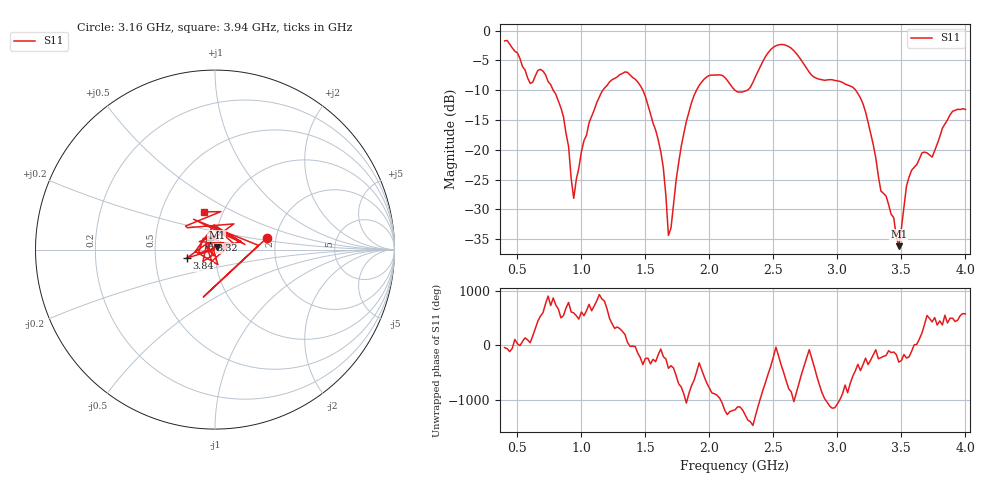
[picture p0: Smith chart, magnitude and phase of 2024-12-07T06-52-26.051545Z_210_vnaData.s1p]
!Created with skrf (http://scikit-rf.org).
# Hz S RI R 50.0
!freq ReS11 ImS11
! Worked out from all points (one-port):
!   181 points, 400 MHz to 4 GHz, reference 50 ohm
!   lowest |S11| = -36.2 dB at 3.48 GHz (marker M1), VSWR 1.03, Z = 50.9 + j1.26 ohm
!   |S11| at or under -10 dB: 779.2 MHz to 1.168 GHz (389.1 MHz wide, 40 % of centre); 1.48 GHz to 1.9 GHz (419.7 MHz wide, 24.8 % of centre); 3.143 GHz to end of sweep (the widest 3 of 4)
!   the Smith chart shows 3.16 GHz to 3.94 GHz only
!   S11 on the Smith chart (normalised r, x): 3.16 GHz: 1.79, +0.26; 3.32 GHz: 0.95, +0.10; 3.84 GHz: 0.72, -0.07; 3.94 GHz: 0.81, +0.36
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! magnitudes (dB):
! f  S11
! 400 MHz  -1.7
! 600 MHz  -8.9
! 700 MHz  -6.8
! 860 MHz  -14.5
! 940 MHz  -28.2
! 1.06 GHz  -15.5
! 1.3 GHz  -7.4
! 1.46 GHz  -9.2
! 1.58 GHz  -16.7
! 1.64 GHz  -23.0
! 1.68 GHz  -34.4
! 1.76 GHz  -22.1
! 1.86 GHz  -12.1
! 1.94 GHz  -8.6
! 2.2 GHz  -10.0
! 2.32 GHz  -9.5
! 2.5 GHz  -2.8
! 2.66 GHz  -3.4
! 2.82 GHz  -7.8
! 3.1 GHz  -9.3
! 3.16 GHz  -10.6
! 3.32 GHz  -24.4
! 3.48 GHz  -36.2
! 3.56 GHz  -24.6
! 3.74 GHz  -21.2
! 3.84 GHz  -15.7
! 3.94 GHz  -13.2
! 4 GHz  -13.2
